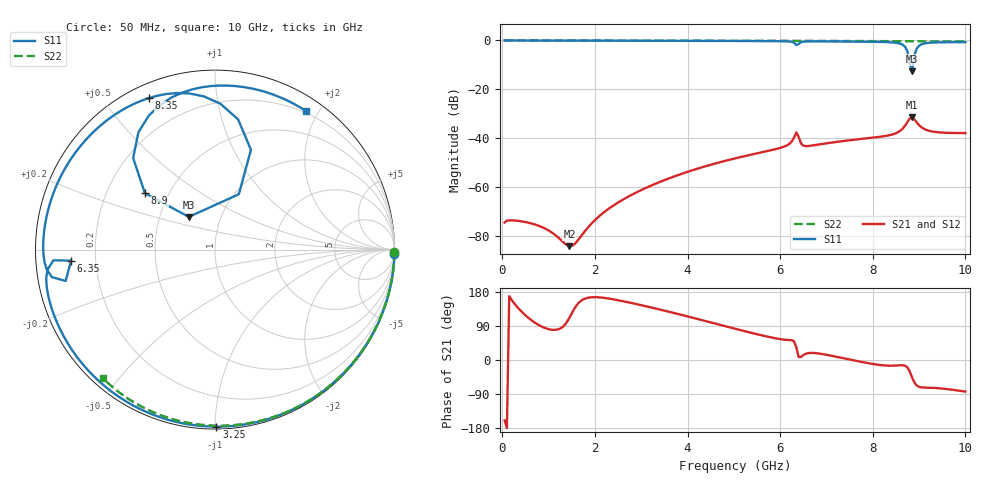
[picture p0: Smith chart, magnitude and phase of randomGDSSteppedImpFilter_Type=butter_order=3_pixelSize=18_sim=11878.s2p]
! freq	dB(S11)	phase(S11)	dB(S12)	phase(S12)
!  dB(S21)	phase(S21)	dB(S22)	phase(S22)
!S-par simulation data
#  GHz  S  DB  R 50
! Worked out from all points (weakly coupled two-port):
!   200 points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, 50 MHz to 10 GHz, reference 50 ohm
!   highest |S21| = -31.50 dB at 8.85 GHz (marker M1); lowest = -84.1 dB at 1.45 GHz (marker M2)
!   lowest |S11| = -12.6 dB at 8.85 GHz (marker M3), VSWR 1.61, Z = 35.1 + j13.5 ohm
!   |S11| at or under -10 dB: 8.808 GHz to 8.87 GHz (61.52 MHz wide, 0.696 % of centre)
!   |S22| runs from -0.4 to 0.0 dB; largest |S21 - S12| = 0
!   S11 on the Smith chart (normalised r, x): 50 MHz: 0, -80; 3.25 GHz: 0.01, -1.01; 6.35 GHz: 0.11, -0.04; 8.35 GHz: 0.06, +0.65; 8.9 GHz: 0.37, +0.31; 10 GHz: 0.18, +1.84
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0.05  -0.00 -1.4  -74.44 -159.3  -74.44 -159.3  -0.00 -0.8
0.5  -0.01 -14.3  -74.26 117.8  -74.26 117.8  -0.01 -7.6
1.45  -0.05 -41.0  -84.12 111.6  -84.12 111.6  -0.03 -21.7
1.75  -0.06 -49.3  -78.80 160.0  -78.80 160.0  -0.03 -26.2
2.35  -0.08 -65.6  -68.12 161.1  -68.12 161.1  -0.05 -34.9
3.25  -0.12 -89.5  -59.05 137.6  -59.05 137.6  -0.06 -47.7
3.4  -0.12 -93.5  -57.88 133.2  -57.88 133.2  -0.07 -49.8
5.05  -0.21 -136.7  -48.12 81.8  -48.12 81.8  -0.11 -72.1
6.1  -0.35 -167.0  -43.30 53.5  -43.30 53.5  -0.15 -85.5
6.35  -1.89 -175.6  -37.62 32.9  -37.62 32.9  -0.16 -88.6
6.5  -0.50 -173.3  -43.01 13.0  -43.01 13.0  -0.17 -90.4
6.7  -0.38 178.6  -42.93 18.7  -42.93 18.7  -0.18 -92.9
7.6  -0.46 147.2  -40.59 -1.3  -40.59 -1.3  -0.23 -103.7
8.35  -0.71 113.6  -38.79 -15.0  -38.79 -15.0  -0.29 -112.5
8.6  -1.35 94.2  -36.83 -13.8  -36.83 -13.8  -0.31 -115.3
8.75  -4.57 70.2  -33.29 -20.0  -33.29 -20.0  -0.32 -117.0
8.8  -9.47 66.7  -31.92 -30.7  -31.92 -30.7  -0.33 -117.6
8.85  -12.64 128.7  -31.50 -46.3  -31.50 -46.3  -0.33 -118.2
8.9  -5.99 141.1  -32.30 -59.8  -32.30 -59.8  -0.33 -118.7
9  -2.15 123.1  -34.64 -70.9  -34.64 -70.9  -0.34 -119.9
9.2  -0.98 102.0  -36.87 -73.0  -36.87 -73.0  -0.36 -122.2
10  -0.69 56.7  -37.87 -83.3  -37.87 -83.3  -0.44 -131.2
